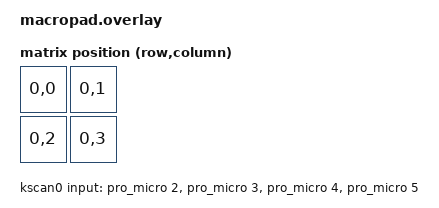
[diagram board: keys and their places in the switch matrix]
#include <physical_layouts.dtsi>
#include <dt-bindings/zmk/matrix_transform.h>

/ {
    chosen {
        zmk,kscan = &kscan0;
        zmk,physical-layout = &physical_layout0;
    };

    kscan0: kscan_direct {
        compatible = "zmk,kscan-gpio-direct";
        wakeup-source;
        input-gpios
            = <&pro_micro 2 (GPIO_ACTIVE_LOW | GPIO_PULL_UP)>
            , <&pro_micro 3 (GPIO_ACTIVE_LOW | GPIO_PULL_UP)>
            , <&pro_micro 4 (GPIO_ACTIVE_LOW | GPIO_PULL_UP)>
            , <&pro_micro 5 (GPIO_ACTIVE_LOW | GPIO_PULL_UP)>
            ;
    };

    // Direct kscan reports every key as (row 0, column = input index), so this
    // is a single row of 4 columns. RC(0,i) -> keymap position i, keeping the
    // key0 key1 / key2 key3 order used in the keymap. v0.3's physical-layout
    // binding *requires* a transform.
    default_transform: keymap_transform_0 {
        compatible = "zmk,matrix-transform";
        columns = <4>;
        rows = <1>;
        map = <
            RC(0,0) RC(0,1) RC(0,2) RC(0,3)
        >;
    };

    physical_layout0: physical_layout_0 {
        compatible = "zmk,physical-layout";
        display-name = "Macropad";
        transform = <&default_transform>;
        keys
            = <&key_physical_attrs 100 100    0   0 0 0 0>
            , <&key_physical_attrs 100 100  100   0 0 0 0>
            , <&key_physical_attrs 100 100    0 100 0 0 0>
            , <&key_physical_attrs 100 100  100 100 0 0 0>
            ;
    };
};
